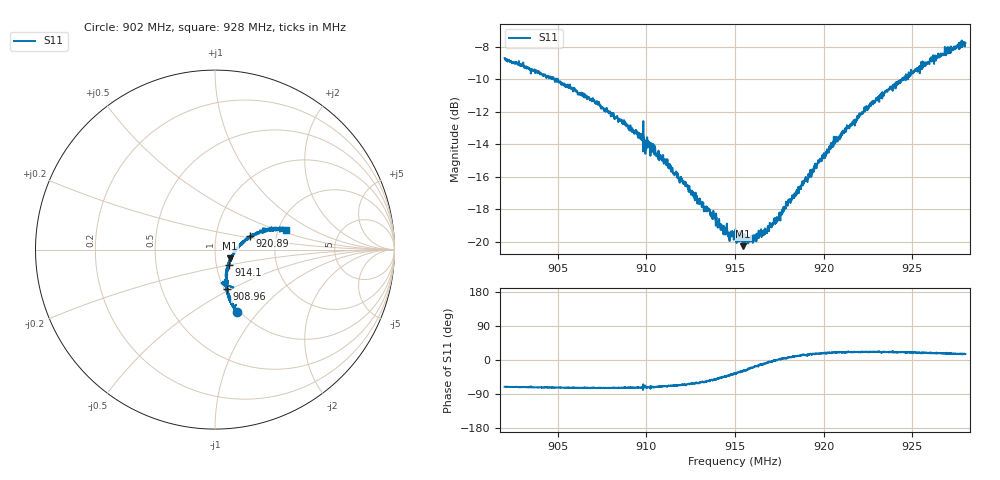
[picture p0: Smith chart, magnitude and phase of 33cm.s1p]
! Calibrated averaged scanner-service zoom
# Hz S RI R 50
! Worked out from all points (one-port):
!   2001 points, 902 MHz to 928 MHz, reference 50 ohm
!   lowest |S11| = -20.3 dB at 915.46 MHz (marker M1), VSWR 1.21, Z = 58.9 - j5.67 ohm
!   |S11| at or under -10 dB: 904.8102 MHz to 904.886 MHz (75.81 kHz wide, 0.00838 % of centre); 904.905 MHz to 904.987 MHz (82.03 kHz wide, 0.00906 % of centre); 904.99 MHz to 924.41 MHz (19.41 MHz wide, 2.12 % of centre) (the widest 3 of 10)
!   S11 on the Smith chart (normalised r, x): 902 MHz: 0.97, -0.78; 908.96 MHz: 1.03, -0.47; 914.1 MHz: 1.15, -0.20; 920.89 MHz: 1.46, +0.23; 928 MHz: 2.19, +0.58
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9.02e8  0.1216 -0.3465
9.0525e8  0.0893 -0.2918
9.07096e8  0.0744 -0.2581
9.085e8  0.0659 -0.227
9.08955e8  0.0647 -0.2186
9.09696e8  0.0617 -0.204
9.09878e8  0.0644 -0.1882
9.10151e8  0.0638 -0.1901
9.11074e8  0.0626 -0.165
9.1175e8  0.0642 -0.1456
9.13245e8  0.0631 -0.1067
9.13505e8  0.0726 -0.1015
9.14103e8  0.0787 -0.0874
9.14701e8  0.0769 -0.0647
9.15e8  0.0864 -0.0623
9.15455e8  0.0844 -0.0476
9.16092e8  0.0998 -0.0307
9.16794e8  0.1063 -0.0154
9.1747e8  0.1184 0.00452
9.17964e8  0.1295 0.0164
9.1825e8  0.1354 0.0208
9.19823e8  0.1722 0.053
9.20889e8  0.1939 0.0767
9.215e8  0.2138 0.0817
9.23554e8  0.2724 0.1056
9.2475e8  0.2972 0.107
9.26167e8  0.3423 0.1105
9.28e8  0.3941 0.1107
